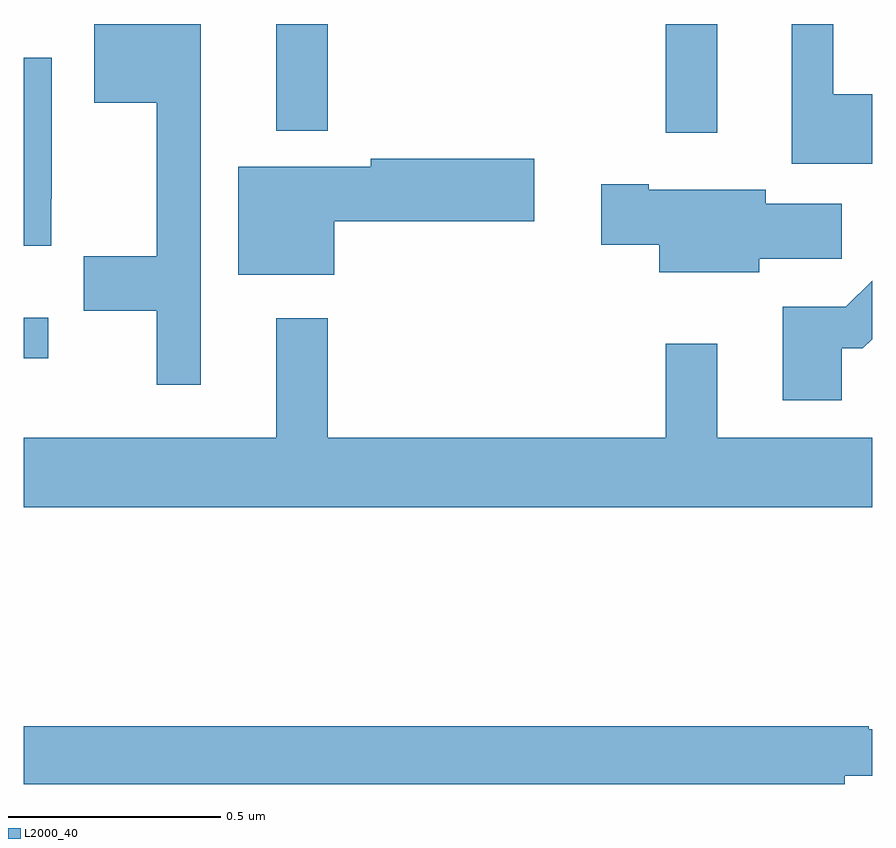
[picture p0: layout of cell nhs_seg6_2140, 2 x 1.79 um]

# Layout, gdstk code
import gdstk
lib = gdstk.Library(unit=1e-6, precision=1e-09)
def R(c, l, rs):  # rectangles x0, y0, x1, y1
    for r in rs: c.add(gdstk.rectangle(r[:2], r[2:], *l))
def P(c, l, *ps):  # polygons
    for p in ps: c.add(gdstk.Polygon(p, *l))
L2000_40 = (2000, 40)

nhs_seg6_2140 = lib.new_cell('nhs_seg6_2140')
R(nhs_seg6_2140, L2000_40, [(139,923.712,139.058,923.807), (140.514,924.243,140.635,924.5), (139.595,924.248,139.717,924.5)])
P(nhs_seg6_2140, L2000_40, [(141,924.334),(140.908,924.334),(140.908,924.5),(140.81,924.5),(140.81,924.274),(140.811,924.274),(140.811,924.17),(141,924.17)],
  [(139.417,924.5),(139.166,924.5),(139.166,924.314),(139.313,924.314),(139.313,923.952),(139.141,923.952),(139.141,923.824),(139.313,923.824),(139.313,923.649),(139.417,923.649)],
  [(139.064,924.088),(139.066,924.088),(139.066,924.42),(139,924.42),(139,923.977),(139.064,923.977)],
  [(139.732,924.035),(140.203,924.035),(140.203,924.182),(139.818,924.182),(139.818,924.163),(139.505,924.163),(139.505,923.909),(139.732,923.909)],
  [(140.734,923.947),(140.929,923.947),(140.929,924.076),(140.749,924.076),(140.749,924.109),(140.473,924.109),(140.473,924.122),(140.361,924.122),(140.361,923.98),(140.498,923.98),(140.498,923.915),(140.734,923.915)],
  [(140.929,923.735),(140.978,923.735),(141,923.757),(141,923.895),(140.938,923.833),(140.789,923.833),(140.789,923.613),(140.929,923.613)],
  [(141,923.524),(140.635,923.524),(140.635,923.746),(140.514,923.746),(140.514,923.524),(139.717,923.524),(139.717,923.806),(139.595,923.806),(139.595,923.524),(139,923.524),(139,923.36),(141,923.36)],
  [(140.936,922.727),(141,922.727),(141,922.837),(140.992,922.837),(140.992,922.844),(139,922.844),(139,922.708),(140.936,922.708)])

lib.write_gds('nhs_seg6_2140.gds')
